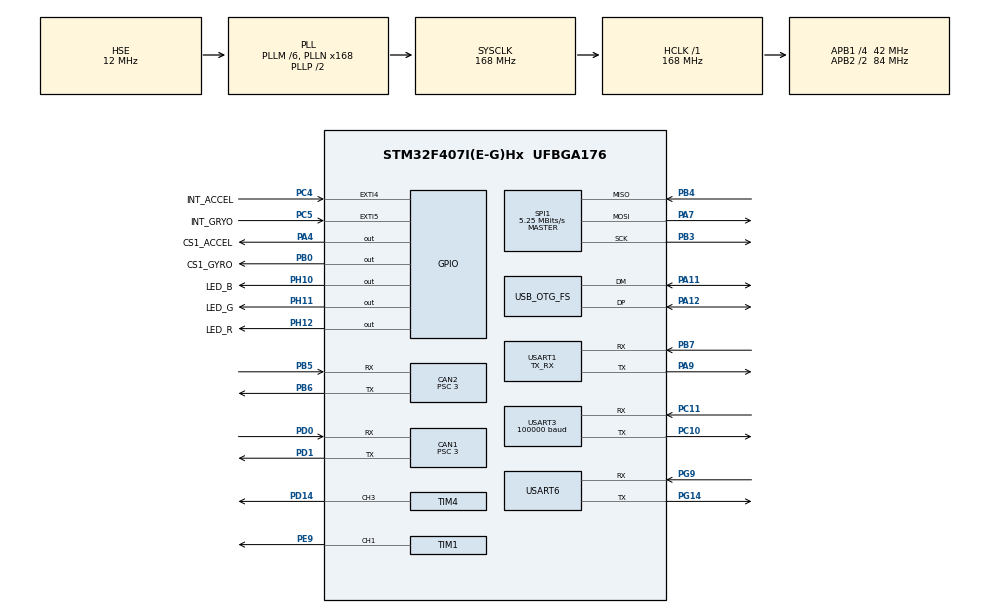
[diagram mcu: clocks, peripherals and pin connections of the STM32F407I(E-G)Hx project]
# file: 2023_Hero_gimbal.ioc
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CAN1.ABOM=ENABLE
CAN1.AWUM=DISABLE
CAN1.BS1=CAN_BS1_6TQ
CAN1.BS2=CAN_BS2_7TQ
CAN1.CalculateBaudRate=1000000
CAN1.CalculateTimeBit=1000
CAN1.CalculateTimeQuantum=71.42857142857143
CAN1.NART=ENABLE
CAN1.Prescaler=3
CAN1.SJW=CAN_SJW_1TQ
CAN2.ABOM=ENABLE
CAN2.BS1=CAN_BS1_6TQ
CAN2.BS2=CAN_BS2_7TQ
CAN2.CalculateBaudRate=1000000
CAN2.CalculateTimeBit=1000
CAN2.CalculateTimeQuantum=71.42857142857143
CAN2.NART=ENABLE
CAN2.Prescaler=3
Dma.Request0=USART6_RX
Dma.Request1=USART6_TX
Dma.Request2=USART3_RX
Dma.Request3=USART1_RX
Dma.Request4=USART1_TX
Dma.Request5=TIM1_CH1
Dma.TIM1_CH1.5.Direction=DMA_MEMORY_TO_PERIPH
Dma.TIM1_CH1.5.FIFOMode=DMA_FIFOMODE_DISABLE
Dma.TIM1_CH1.5.Instance=DMA2_Stream1
Dma.TIM1_CH1.5.MemDataAlignment=DMA_MDATAALIGN_WORD
Dma.TIM1_CH1.5.MemInc=DMA_MINC_ENABLE
Dma.TIM1_CH1.5.Mode=DMA_NORMAL
Dma.TIM1_CH1.5.PeriphDataAlignment=DMA_PDATAALIGN_WORD
Dma.TIM1_CH1.5.PeriphInc=DMA_PINC_DISABLE
Dma.TIM1_CH1.5.Priority=DMA_PRIORITY_VERY_HIGH
Dma.USART1_RX.3.Direction=DMA_PERIPH_TO_MEMORY
Dma.USART1_RX.3.FIFOMode=DMA_FIFOMODE_DISABLE
Dma.USART1_RX.3.Instance=DMA2_Stream5
Dma.USART1_RX.3.MemDataAlignment=DMA_MDATAALIGN_BYTE
Dma.USART1_RX.3.MemInc=DMA_MINC_ENABLE
Dma.USART1_RX.3.Mode=DMA_CIRCULAR
Dma.USART1_RX.3.PeriphDataAlignment=DMA_PDATAALIGN_BYTE
Dma.USART1_RX.3.PeriphInc=DMA_PINC_DISABLE
Dma.USART1_RX.3.Priority=DMA_PRIORITY_LOW
Dma.USART1_TX.4.Direction=DMA_MEMORY_TO_PERIPH
Dma.USART1_TX.4.FIFOMode=DMA_FIFOMODE_DISABLE
Dma.USART1_TX.4.Instance=DMA2_Stream7
Dma.USART1_TX.4.MemDataAlignment=DMA_MDATAALIGN_BYTE
Dma.USART1_TX.4.MemInc=DMA_MINC_ENABLE
Dma.USART1_TX.4.Mode=DMA_NORMAL
Dma.USART1_TX.4.PeriphDataAlignment=DMA_PDATAALIGN_BYTE
Dma.USART1_TX.4.PeriphInc=DMA_PINC_DISABLE
Dma.USART1_TX.4.Priority=DMA_PRIORITY_LOW
Dma.USART3_RX.2.Direction=DMA_PERIPH_TO_MEMORY
Dma.USART3_RX.2.FIFOMode=DMA_FIFOMODE_DISABLE
Dma.USART3_RX.2.Instance=DMA1_Stream1
Dma.USART3_RX.2.MemDataAlignment=DMA_MDATAALIGN_BYTE
Dma.USART3_RX.2.MemInc=DMA_MINC_ENABLE
Dma.USART3_RX.2.Mode=DMA_CIRCULAR
Dma.USART3_RX.2.PeriphDataAlignment=DMA_PDATAALIGN_BYTE
Dma.USART3_RX.2.PeriphInc=DMA_PINC_DISABLE
Dma.USART3_RX.2.Priority=DMA_PRIORITY_LOW
Dma.USART6_RX.0.Direction=DMA_PERIPH_TO_MEMORY
Dma.USART6_RX.0.FIFOMode=DMA_FIFOMODE_DISABLE
Dma.USART6_RX.0.Instance=DMA2_Stream2
Dma.USART6_RX.0.MemDataAlignment=DMA_MDATAALIGN_BYTE
Dma.USART6_RX.0.MemInc=DMA_MINC_ENABLE
Dma.USART6_RX.0.Mode=DMA_CIRCULAR
Dma.USART6_RX.0.PeriphDataAlignment=DMA_PDATAALIGN_BYTE
Dma.USART6_RX.0.PeriphInc=DMA_PINC_DISABLE
Dma.USART6_RX.0.Priority=DMA_PRIORITY_LOW
Dma.USART6_TX.1.Direction=DMA_MEMORY_TO_PERIPH
Dma.USART6_TX.1.FIFOMode=DMA_FIFOMODE_DISABLE
Dma.USART6_TX.1.Instance=DMA2_Stream6
Dma.USART6_TX.1.MemDataAlignment=DMA_MDATAALIGN_BYTE
Dma.USART6_TX.1.MemInc=DMA_MINC_ENABLE
Dma.USART6_TX.1.Mode=DMA_NORMAL
Dma.USART6_TX.1.PeriphDataAlignment=DMA_PDATAALIGN_BYTE
Dma.USART6_TX.1.PeriphInc=DMA_PINC_DISABLE
Dma.USART6_TX.1.Priority=DMA_PRIORITY_LOW
Mcu.Family=STM32F4
Mcu.Name=STM32F407I(E-G)Hx
Mcu.Package=UFBGA176
NVIC.CAN1_RX0_IRQn=true\:2\:0\:true\:false\:true\:true\:true\:true
NVIC.CAN1_RX1_IRQn=true\:2\:0\:true\:false\:true\:true\:true\:true
NVIC.CAN2_RX0_IRQn=true\:2\:0\:true\:false\:true\:true\:true\:true
NVIC.CAN2_RX1_IRQn=true\:2\:0\:true\:false\:true\:true\:true\:true
NVIC.DMA1_Stream1_IRQn=true\:0\:0\:false\:false\:true\:false\:true\:true
NVIC.DMA2_Stream1_IRQn=true\:0\:0\:false\:false\:true\:false\:true\:true
NVIC.DMA2_Stream2_IRQn=true\:0\:0\:false\:false\:true\:false\:true\:true
NVIC.DMA2_Stream5_IRQn=true\:0\:0\:false\:false\:true\:false\:true\:true
NVIC.DMA2_Stream6_IRQn=true\:0\:0\:false\:false\:true\:false\:true\:true
NVIC.DMA2_Stream7_IRQn=true\:0\:0\:false\:false\:true\:false\:true\:true
NVIC.OTG_FS_IRQn=true\:0\:0\:false\:false\:true\:false\:true\:true
NVIC.PriorityGroup=NVIC_PRIORITYGROUP_4
NVIC.TIM1_BRK_TIM9_IRQn=true\:0\:0\:false\:false\:true\:true\:true\:true
NVIC.TIM1_TRG_COM_TIM11_IRQn=true\:1\:0\:true\:false\:true\:true\:true\:true
NVIC.TIM5_IRQn=true\:2\:0\:true\:false\:true\:true\:true\:true
NVIC.TIM6_DAC_IRQn=true\:1\:0\:true\:false\:true\:true\:true\:true
NVIC.TIM7_IRQn=true\:0\:0\:true\:false\:true\:true\:true\:true
NVIC.TIM8_TRG_COM_TIM14_IRQn=true\:0\:0\:false\:false\:true\:true\:true\:true
NVIC.USART1_IRQn=true\:0\:0\:false\:false\:true\:true\:true\:true
NVIC.USART3_IRQn=true\:2\:0\:true\:false\:true\:true\:true\:true
NVIC.USART6_IRQn=true\:0\:0\:false\:false\:true\:true\:true\:true
PA11.Mode=Device_Only
PA11.Signal=USB_OTG_FS_DM
PA12.Mode=Device_Only
PA12.Signal=USB_OTG_FS_DP
PA13.Mode=Serial_Wire
PA13.Signal=SYS_JTMS-SWDIO
PA14.Mode=Serial_Wire
PA14.Signal=SYS_JTCK-SWCLK
PA4.GPIO_Label=CS1_ACCEL
PA4.PinState=GPIO_PIN_SET
PA4.Signal=GPIO_Output
PA7.Mode=Full_Duplex_Master
PA7.Signal=SPI1_MOSI
PA9.Mode=Asynchronous
PA9.Signal=USART1_TX
PB0.GPIO_Label=CS1_GYRO
PB0.PinState=GPIO_PIN_SET
PB0.Signal=GPIO_Output
PB3.Mode=Full_Duplex_Master
PB3.Signal=SPI1_SCK
PB4.Mode=Full_Duplex_Master
PB4.Signal=SPI1_MISO
PB5.Mode=CAN_Activate
PB5.Signal=CAN2_RX
PB6.Mode=CAN_Activate
PB6.Signal=CAN2_TX
PB7.Mode=Asynchronous
PB7.Signal=USART1_RX
PC10.Mode=Asynchronous
PC10.Signal=USART3_TX
PC11.Mode=Asynchronous
PC11.Signal=USART3_RX
PC4.GPIO_Label=INT_ACCEL
PC4.Signal=GPXTI4
PC5.GPIO_Label=INT_GRYO
PC5.Signal=GPXTI5
PD0.Mode=CAN_Activate
PD0.Signal=CAN1_RX
PD1.Mode=CAN_Activate
PD1.Signal=CAN1_TX
PD14.Signal=S_TIM4_CH3
PE9.Signal=S_TIM1_CH1
PG14.Mode=Asynchronous
PG14.Signal=USART6_TX
PG9.Mode=Asynchronous
PG9.Signal=USART6_RX
PH0-OSC_IN.Mode=HSE-External-Oscillator
PH0-OSC_IN.Signal=RCC_OSC_IN
PH1-OSC_OUT.Mode=HSE-External-Oscillator
PH1-OSC_OUT.Signal=RCC_OSC_OUT
PH10.GPIO_Label=LED_B
PH10.Signal=GPIO_Output
PH11.GPIO_Label=LED_G
PH11.Signal=GPIO_Output
PH12.GPIO_Label=LED_R
PH12.Signal=GPIO_Output
ProjectManager.HeapSize=0x200
ProjectManager.StackSize=0x8000
ProjectManager.TargetToolchain=MDK-ARM V5.32
RCC.48MHZClocksFreq_Value=48000000
RCC.AHBFreq_Value=168000000
RCC.APB1CLKDivider=RCC_HCLK_DIV4
RCC.APB1Freq_Value=42000000
RCC.APB1TimFreq_Value=84000000
RCC.APB2CLKDivider=RCC_HCLK_DIV2
RCC.APB2Freq_Value=84000000
RCC.APB2TimFreq_Value=168000000
RCC.CortexFreq_Value=168000000
RCC.HCLKFreq_Value=168000000
RCC.HSE_VALUE=12000000
RCC.HSI_VALUE=16000000
RCC.LSE_VALUE=32768
RCC.PLLM=6
RCC.PLLN=168
RCC.PLLQ=7
RCC.SYSCLKFreq_VALUE=168000000
RCC.SYSCLKSource=RCC_SYSCLKSOURCE_PLLCLK
RCC.VCOOutputFreq_Value=336000000
SH.S_TIM1_CH1.0=TIM1_CH1,PWM Generation1 CH1
SH.S_TIM4_CH3.0=TIM4_CH3,PWM Generation3 CH3
SPI1.BaudRatePrescaler=SPI_BAUDRATEPRESCALER_16
SPI1.CLKPhase=SPI_PHASE_2EDGE
SPI1.CLKPolarity=SPI_POLARITY_HIGH
SPI1.CalculateBaudRate=5.25 MBits/s
SPI1.Direction=SPI_DIRECTION_2LINES
SPI1.Mode=SPI_MODE_MASTER
SPI1.VirtualType=VM_MASTER
TIM1.Channel-PWM\ Generation1\ CH1=TIM_CHANNEL_1
TIM1.Period=209
TIM4.Channel-PWM\ Generation3\ CH3=TIM_CHANNEL_3
TIM5.Period=65535
USART1.Mode=MODE_TX_RX
USART1.OverSampling=UART_OVERSAMPLING_16
USART1.VirtualMode=VM_ASYNC
USART3.BaudRate=100000
USART3.Mode=MODE_RX
USART3.OverSampling=UART_OVERSAMPLING_16
USART3.VirtualMode=VM_ASYNC
USART6.OverSampling=UART_OVERSAMPLING_16
USART6.VirtualMode=VM_ASYNC
USB_DEVICE.CLASS_NAME_FS=CDC
USB_DEVICE.VirtualMode-CDC_FS=Cdc
USB_DEVICE.VirtualModeFS=Cdc_FS
USB_OTG_FS.VirtualMode=Device_Only
VP_RNG_VS_RNG.Mode=RNG_Activate
VP_TIM11_VS_ClockSourceINT.Mode=Enable_Timer
VP_TIM14_VS_ClockSourceINT.Mode=Enable_Timer
VP_TIM1_VS_ClockSourceINT.Mode=Internal
VP_TIM4_VS_ClockSourceINT.Mode=Internal
VP_TIM5_VS_ClockSourceINT.Mode=Internal
VP_TIM6_VS_ClockSourceINT.Mode=Enable_Timer
VP_TIM7_VS_ClockSourceINT.Mode=Enable_Timer
VP_USB_DEVICE_VS_USB_DEVICE_CDC_FS.Mode=CDC_FS
board=custom

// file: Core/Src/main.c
/* USER CODE BEGIN Header */
/**
 ******************************************************************************
 * @file           : main.c
 * @brief          : Main program body
 ******************************************************************************
 * @attention
 *
 * Copyright (c) 2022 STMicroelectronics.
 * All rights reserved.
 *
 * This software is licensed under terms that can be found in the LICENSE file
 * in the root directory of this software component.
 * If no LICENSE file comes with this software, it is provided AS-IS.
 *
 ******************************************************************************
 */
/* USER CODE END Header */
#include "main.h"
#include "can.h"
#include "dma.h"
#include "gpio.h"
#include "rng.h"
#include "spi.h"
#include "tim.h"
#include "usart.h"
#include "usb_device.h"

/* USER CODE BEGIN Includes */
#include "./base_drv/drv_conf.h"
#include "./imu.h"

#include gimbal_module_core_h
#include chassis_module_core_h
#include gimbal_module_motor_ctrl_h
#include chassis_module_motor_ctrl_h
#include "./base_drv/drv_buzzer/buzzer.h"
#include "./base_drv/drv_cap/super_cap.h"
#include "./base_drv/drv_motor/motor_ctrl.h"
#include "./base_drv/drv_rc/rc.h"
#include "./base_drv/drv_referee/referee.h"
#include "./base_drv/graphic/drv_graphic.h"
#include "./base_drv/graphic/graphic_def.h"
#include "./base_drv/power_ctrl.h"

#include "./robot_core/ctrl_core/robot.h"
#include "./robot_core/interface/interface_BTB.h"
#include "./robot_core/tool/vofa.h"
#include "./robot_core/weapon/vision.h"

#include "./base_drv/2812.h"
#include "./robot_core/tool/utils/trice.h"

#define TRICE_FILE Id(0)
/* USER CODE END Includes */

/* USER CODE BEGIN PV */
uint16_t MAX_time_CNT = 10;
HAL_CAN_StateTypeDef StateofCAN1 = HAL_CAN_STATE_ERROR;
HAL_CAN_StateTypeDef StateofCAN2 = HAL_CAN_STATE_ERROR;

float charge_power = 30;

/* USER CODE END PV */

void SystemClock_Config(void);
/* USER CODE BEGIN PFP */
float temp_shoot_data = 0;

void System_Reset(void) {
  TRICE(Id(35751), "MSG: try to reset robot,RCC_CSR=0x%x\n", RCC->CSR);

  shutdown_all_chassis_motor();
  shutdown_all_gimbal_motor();

  for (uint32_t i = 0; i < 1000; i++) {

    set_all_chassis_motor_output();
    set_all_gimbal_motor_output();
  }
  __set_FAULTMASK(1); // 关闭�????有中�????
  __disable_irq();
  NVIC_SystemReset(); // 复位
}

/**
 *	@breif 看门狗初始化
 *	@param[1] hiwdg.Instance->KR
 *						键寄存器
 *						当写�??????????0XCCCC就启动看门狗的工作；
 *						当写�??????????0X5555时表示允许访问IWDG_PR和IWDG_RLR寄存器，只有允许访问这两个地�??????????以后，才能改变独立看门狗的预分频值和重装载�?�；
 *						当写�??????????0XAAAA的时候，独立看门狗进行更新，防止产生复位�??????????
 *	@param[2] hiwdg.Instance->PR
 *						预分频寄存器
 *						分频值为4*2^PR
 *	@param[3] hiwdg.Instance->RLR
 *						重装载寄存器
 *						当IWDG的�?�减�??????????0以后，系统复位，IWDG的重装载寄存器的值就会加载到递减计数器中进行重新计数�??????????
 *						当IWDG及时“喂狗�?�，以后，IWDG的重装载寄存器的值也会加载到递减计数器中，使IWDG重新计数�??????????
 *	@param[4] hiwdg.Instance->SR
 *						状�?�寄存器,�??????????
 *	@note[1]:	C板看门狗是接到LSI 32khz,喂狗用时Tout=( (4×2^PR) ×
 *(RLP+1) )/LSI,此处设定频率�??????????400hz
 *						(贴着控制频率容易�??????????直卡�??????????,建议留多点余�??????????)
 *	@note[2]:
 *调用MX_IWDG_Init的时候就已经�??????????启看门狗�??????????,为了防止robot_init用时过久疯狗咬人,
 *						请自行在MX_IWDG_Init里加�??????????#if
 *0
 *......#endif注释�??????????
 *	@note[3]:
 *平常�??????????debug调试时记得关掉看门狗,不然�??????????打断点就会触发看门狗
 */
bool IS_SYSTEM_RESET = true;
void watchdog_init(void) {
  //  hiwdg.Instance = IWDG;
  //  hiwdg.Init.Prescaler = IWDG_PRESCALER_4;
  //  hiwdg.Init.Reload = 20 - 1;
  // #if enable_watch_dog
  //  if (HAL_IWDG_Init(&hiwdg) != HAL_OK) {
  //    Error_Handler();
  //  }
  // #endif
  //  HAL_IWDG_Refresh(&hiwdg);
  /*
  hiwdg.Instance->KR=0x5555;
  hiwdg.Instance->PR=0;		//设定时钟4分频
  hiwdg.Instance->RLR=10-1;
  hiwdg.Instance->KR=0xCCCC;
  */
}

// #define DISABLE_USB

/* USER CODE END PFP */

/* USER CODE BEGIN 0 */
uint8_t rst_cnt = 0;
uint8_t error_emergency = 0;
void error_show(uint8_t emergency) {
  switch (emergency) {
  case 1:
    HAL_GPIO_TogglePin(LED_R_GPIO_Port, LED_R_Pin);
    HAL_GPIO_WritePin(LED_B_GPIO_Port, LED_B_Pin, GPIO_PIN_RESET);
    HAL_GPIO_WritePin(LED_G_GPIO_Port, LED_G_Pin, GPIO_PIN_RESET);

    break;
  case 2:
    HAL_GPIO_TogglePin(LED_B_GPIO_Port, LED_B_Pin);
    HAL_GPIO_WritePin(LED_G_GPIO_Port, LED_G_Pin, GPIO_PIN_RESET);
    HAL_GPIO_WritePin(LED_R_GPIO_Port, LED_R_Pin, GPIO_PIN_RESET);
    break;
  default:
    HAL_GPIO_TogglePin(LED_G_GPIO_Port, LED_G_Pin);
    HAL_GPIO_WritePin(LED_R_GPIO_Port, LED_R_Pin, GPIO_PIN_RESET);
    HAL_GPIO_WritePin(LED_B_GPIO_Port, LED_B_Pin, GPIO_PIN_RESET);
    break;
  }
}
/* USER CODE END 0 */

int main(void) {

  /* MCU Configuration--------------------------------------------------------*/

  /* Reset of all peripherals, Initializes the Flash interface and the Systick.
   */
  HAL_Init();

  /* Configure the system clock */
  SystemClock_Config();

  /* USER CODE BEGIN SysInit */
#if 0
  /* USER CODE END SysInit */

  /* Initialize all configured peripherals */
  MX_GPIO_Init();
  MX_DMA_Init();
  MX_USART3_UART_Init();
  MX_CAN1_Init();
  MX_CAN2_Init();
  MX_TIM6_Init();
  MX_TIM14_Init();
  MX_SPI1_Init();
  MX_USB_DEVICE_Init();
  MX_TIM7_Init();
  MX_TIM4_Init();
  MX_TIM11_Init();
  MX_USART1_UART_Init();
  MX_USART6_UART_Init();
  MX_TIM5_Init();
  MX_RNG_Init();
  MX_TIM1_Init();
  /* USER CODE BEGIN 2 */
#endif
  MX_GPIO_Init();
  MX_DMA_Init();
  MX_USART3_UART_Init();
  MX_CAN1_Init();
  MX_CAN2_Init();
  MX_TIM6_Init();
  MX_TIM14_Init();
  MX_SPI1_Init();
  MX_USB_DEVICE_Init();
  MX_TIM7_Init();
  MX_TIM4_Init();
  MX_TIM11_Init();
  MX_USART1_UART_Init();
  MX_USART6_UART_Init();
  MX_TIM5_Init();
  MX_TIM1_Init();

  //

  // init_UI();
  init_UI();
  light_init();
  referee_recv_dma_init();
  // 云台初始�???????????(含电机�?�遥控器、板间交互�?�tim6与tim14中断�???????????�???????????)
  robot_init();
  HAL_Delay(500);

  watchdog_init();
  HAL_Delay(500);

  /* USER CODE END 2 */

  /* Infinite loop */
  /* USER CODE BEGIN WHILE */
  while (1) {

    HAL_Delay(10);

    // 手动断控
    extern chassis_motors_t chassis_motors;
    extern gimbal_motors_t gimbal_motors;

    // 更新裁判系统
    update_referee_data_to_BTB();

    // 蜂鸣器警�???????????
    //     if (is_the_receiver_offline())
    //       beep(1, 1000, 0.01); // 1s

    StateofCAN1 = HAL_CAN_GetState(&hcan1);
    StateofCAN2 = HAL_CAN_GetState(&hcan2);
    inc_referee_rx_lost();
    if (robot.gimbal_motor_status != 0) {
      error_emergency = 2;
    } else if (robot.chassis_motor_status != 0) {
      error_emergency = 1;
    } else {
      error_emergency = 0;
    }

    error_show(error_emergency);
    update_UI();
    //    fuck_mode gimbal_spin ctrl_mode super_cap fire_spining

    //        vision_colour

    //    extern int cap_data_ui;
    //    extern chassis_power_lim_t chassis_power_lim;
    //    cap_data_ui = 100 * chassis_power_lim.real_cap_ratio;
    // update_UI();
    /* USER CODE END WHILE */

  }
}

void SystemClock_Config(void) {
  RCC_OscInitTypeDef RCC_OscInitStruct = {0};
  RCC_ClkInitTypeDef RCC_ClkInitStruct = {0};

  /** Configure the main internal regulator output voltage
   */
  __HAL_RCC_PWR_CLK_ENABLE();
  __HAL_PWR_VOLTAGESCALING_CONFIG(PWR_REGULATOR_VOLTAGE_SCALE1);

  /** Initializes the RCC Oscillators according to the specified parameters
   * in the RCC_OscInitTypeDef structure.
   */
  RCC_OscInitStruct.OscillatorType = RCC_OSCILLATORTYPE_HSE;
  RCC_OscInitStruct.HSEState = RCC_HSE_ON;
  RCC_OscInitStruct.PLL.PLLState = RCC_PLL_ON;
  RCC_OscInitStruct.PLL.PLLSource = RCC_PLLSOURCE_HSE;
  RCC_OscInitStruct.PLL.PLLM = 6;
  RCC_OscInitStruct.PLL.PLLN = 168;
  RCC_OscInitStruct.PLL.PLLP = RCC_PLLP_DIV2;
  RCC_OscInitStruct.PLL.PLLQ = 7;
  if (HAL_RCC_OscConfig(&RCC_OscInitStruct) != HAL_OK) {
    Error_Handler();
  }

  /** Initializes the CPU, AHB and APB buses clocks
   */
  RCC_ClkInitStruct.ClockType = RCC_CLOCKTYPE_HCLK | RCC_CLOCKTYPE_SYSCLK |
                                RCC_CLOCKTYPE_PCLK1 | RCC_CLOCKTYPE_PCLK2;
  RCC_ClkInitStruct.SYSCLKSource = RCC_SYSCLKSOURCE_PLLCLK;
  RCC_ClkInitStruct.AHBCLKDivider = RCC_SYSCLK_DIV1;
  RCC_ClkInitStruct.APB1CLKDivider = RCC_HCLK_DIV4;
  RCC_ClkInitStruct.APB2CLKDivider = RCC_HCLK_DIV2;

  if (HAL_RCC_ClockConfig(&RCC_ClkInitStruct, FLASH_LATENCY_5) != HAL_OK) {
    Error_Handler();
  }
}

void Error_Handler(void) {
  __disable_irq();
  while (1) {
  }
}

#ifdef USE_FULL_ASSERT
/**
 * @brief  Reports the name of the source file and the source line number
 *         where the assert_param error has occurred.
 * @param  file: pointer to the source file name
 * @param  line: assert_param error line source number
 * @retval None
 */
void assert_failed(uint8_t *file, uint32_t line) {
  /* USER CODE BEGIN 6 */
  /* User can add his own implementation to report the file name and line
     number, ex: printf("Wrong parameters value: file %s on line %d\r\n", file,
     line) */
  /* USER CODE END 6 */
}
#endif /* USE_FULL_ASSERT */
